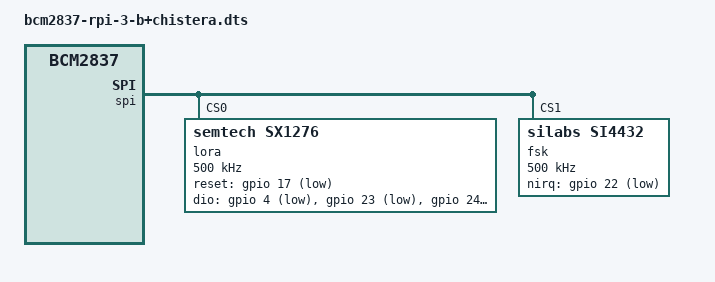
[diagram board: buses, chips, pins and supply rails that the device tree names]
/*
 * Copyright (c) 2017 Andreas Färber
 *
 * SPDX-License-Identifier: GPL-2.0+ OR MIT
 */

/dts-v1/;
/plugin/;

/ {
	compatible = "brcm,bcm2837";

	#address-cells = <1>;
	#size-cells = <0>;

	fragment@0 {
		reg = <0>;

		target = <&spi>;

		__overlay__ {
			/*status = "okay";
			pinctrl-names = "default";
			pinctrl-0 = <&spi0_gpio7>;*/

			#address-cells = <1>;
			#size-cells = <0>;

			lora@0 {
				compatible = "semtech,sx1276";
				reg = <0>;
				spi-max-frequency = <500000>;
				clock-frequency = <32000000>;
				radio-frequency = <868000000>;
				reset-gpios = <&gpio 17 1>;
				dio-gpios = <&gpio 4 1>,
				            <&gpio 23 1>,
				            <&gpio 24 1>,
				            <0>,
				            <0>,
				            <0>;
			};

			fsk@1 {
				compatible = "silabs,si4432";
				reg = <1>;
				spi-max-frequency = <500000>;
				radio-frequency = <433000000>;
				nirq-gpio = <&gpio 22 1>;
			};
		};
	};
};
